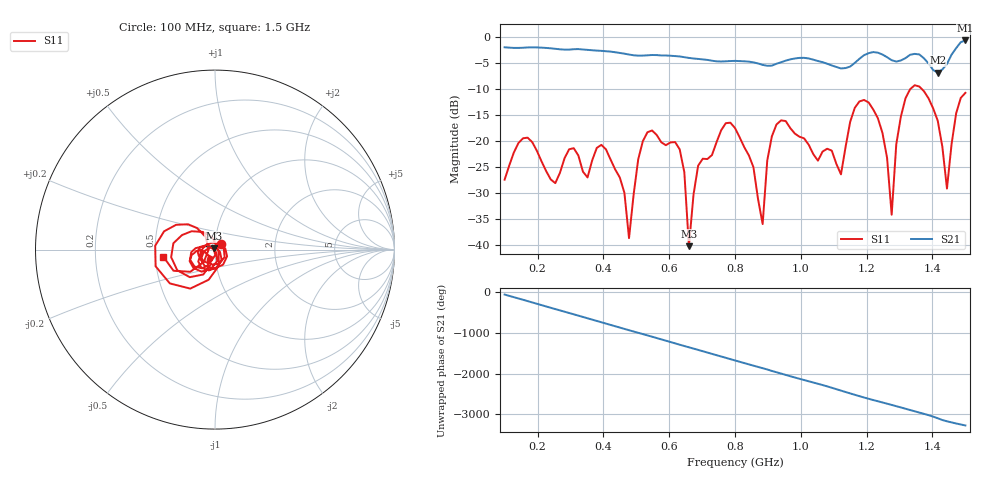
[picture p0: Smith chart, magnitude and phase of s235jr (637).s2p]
! NanoVNA-App
! Date: 2025-09-25 15:09:07
! Start: 100MHz Stop: 1,5GHz Points: 101
! S-Parameter data: F S11 S21 S12 S22
# Hz S RI R 50
!  Frequency  S11_Real  S11_Imag  S21_Real  S21_Imag  S12_Real  S12_Imag  S22_Real  S22_Imag
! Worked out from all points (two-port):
!   101 points, 100 MHz to 1.5 GHz, reference 50 ohm
!   highest |S21| = -0.65 dB at 1.5 GHz (marker M1); lowest = -6.8 dB at 1.416 GHz (marker M2)
!   |S21| within 3 dB of the highest: start of sweep to 615.9 MHz; 1.189 GHz to 1.256 GHz (67.16 MHz wide, 5.49 % of centre) (the widest 2 of 4)
!   lowest |S11| = -40.3 dB at 660 MHz (marker M3), VSWR 1.02, Z = 49.3 + j0.627 ohm
!   |S11| at or under -10 dB: start of sweep to 1.333 GHz; 1.367 GHz to end of sweep
!   S12 and S22 are empty: the file has one direction only
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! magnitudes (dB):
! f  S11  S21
! 100 MHz  -27.5  -2.0
! 170 MHz  -19.4  -2.0
! 338 MHz  -25.9  -2.4
! 408 MHz  -21.6  -2.7
! 478 MHz  -38.7  -3.4
! 520 MHz  -20.1  -3.6
! 576 MHz  -20.3  -3.5
! 632 MHz  -21.6  -3.7
! 660 MHz  -40.3  -4.0
! 688 MHz  -24.8  -4.2
! 800 MHz  -17.5  -4.6
! 884 MHz  -36.0  -5.4
! 926 MHz  -16.8  -5.1
! 1.038 GHz  -22.6  -4.4
! 1.122 GHz  -26.4  -6.0
! 1.206 GHz  -12.6  -3.1
! 1.248 GHz  -18.5  -3.4
! 1.276 GHz  -34.2  -4.5
! 1.318 GHz  -11.8  -4.1
! 1.416 GHz  -16.1  -6.8
! 1.444 GHz  -29.2  -5.2
! 1.5 GHz  -10.7  -0.7
